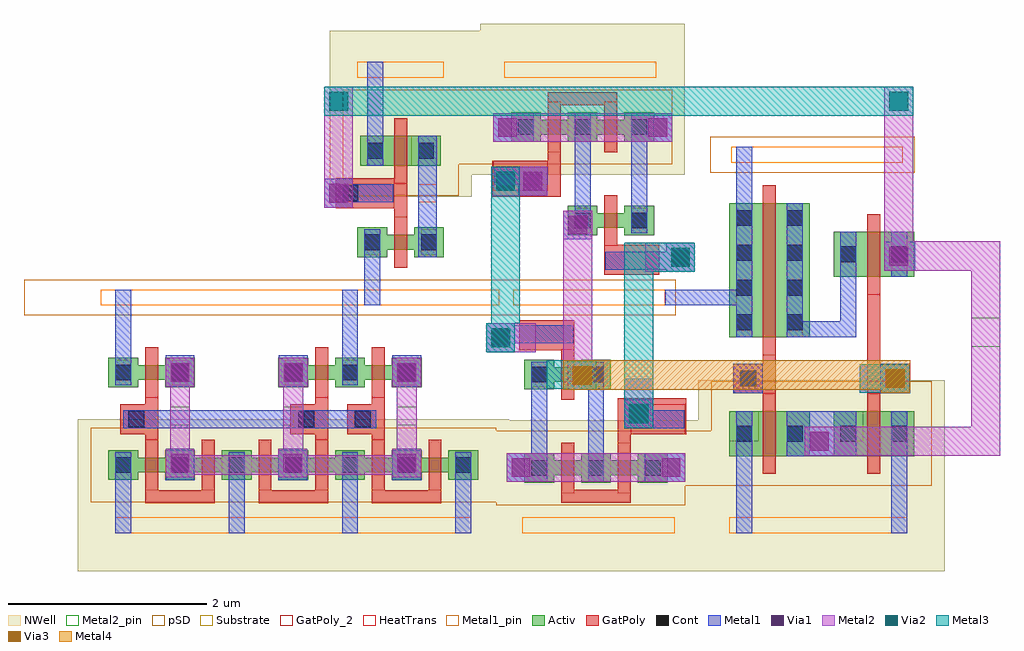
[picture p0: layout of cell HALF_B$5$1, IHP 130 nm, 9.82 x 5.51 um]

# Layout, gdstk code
from math import pi, radians
import gdstk
lib = gdstk.Library(unit=1e-6, precision=5e-09)
def R(c, l, rs):  # rectangles x0, y0, x1, y1
    for r in rs: c.add(gdstk.rectangle(r[:2], r[2:], *l))
def A(c, l, x, y, w, h, nx, ny, dx, dy):  # array of equal rectangles
    R(c, l, [(x+i*dx, y+j*dy, x+i*dx+w, y+j*dy+h) for i in range(nx) for j in range(ny)])
Activ = (1, 0)
GatPoly = (5, 0)
GatPoly_2 = (5, 2)
Cont = (6, 0)
Metal1 = (8, 0)
Metal1_pin = (8, 2)
Metal2 = (10, 0)
Metal2_pin = (10, 2)
pSD = (14, 0)
Via1 = (19, 0)
Via2 = (29, 0)
Metal3 = (30, 0)
NWell = (31, 0)
Substrate = (40, 0)
Via3 = (49, 0)
Metal4 = (50, 0)
HeatTrans = (51, 0)

via2_constraint_10_1 = lib.new_cell('Via2_constraint$10$1')
R(via2_constraint_10_1, Metal2, [(-0.015,0,0.275,0.29)])
R(via2_constraint_10_1, Via2, [(0.035,0.05,0.225,0.24)])
R(via2_constraint_10_1, Metal3, [(-0.015,0,0.275,0.29)])

via1_constraint_1_7_1 = lib.new_cell('Via1_constraint$1$7$1')
R(via1_constraint_1_7_1, Metal1, [(-0.02,0,0.27,0.29)])
R(via1_constraint_1_7_1, Metal2, [(-0.02,0,0.27,0.29)])
R(via1_constraint_1_7_1, Via1, [(0.03,0.05,0.22,0.24)])

nmos_4_4_1_1 = lib.new_cell('nmos$4$4$1$1')
R(nmos_4_4_1_1, Activ, [(0,0.04,0.3,0.34), (0.57,0.04,0.87,0.34), (0,0.115,0.87,0.265)])
R(nmos_4_4_1_1, GatPoly, [(0.37,-0.065,0.5,0.445)])
R(nmos_4_4_1_1, GatPoly_2, [(0.37,-0.065,0.5,0.445)])
R(nmos_4_4_1_1, Cont, [(0.07,0.11,0.23,0.27), (0.64,0.11,0.8,0.27)])
R(nmos_4_4_1_1, Metal1, [(0.07,0.06,0.23,0.32), (0.64,0.06,0.8,0.32)])
R(nmos_4_4_1_1, Metal1_pin, [(0.07,0.06,0.23,0.32), (0.64,0.06,0.8,0.32)])
R(nmos_4_4_1_1, HeatTrans, [(0.37,-0.065,0.5,0.445)])
nmos_4_4_1_1.add(gdstk.Label('nmos', (0.435,0.19), layer=63, texttype=0))
nmos_4_4_1_1.add(gdstk.Label('nmos', (0.435,0.19), layer=51, texttype=0))

pmos_4_2_1_1 = lib.new_cell('pmos$4$2$1$1')
R(pmos_4_2_1_1, Activ, [(0,-0.04,0.3,0.26), (0.57,-0.04,0.87,0.26), (0,0.035,0.87,0.185)])
R(pmos_4_2_1_1, GatPoly, [(0.37,-0.145,0.5,0.365), (0.37,-0.145,0.5,0.365)])
R(pmos_4_2_1_1, Cont, [(0.07,0.03,0.23,0.19), (0.64,0.03,0.8,0.19)])
R(pmos_4_2_1_1, Metal1, [(0.07,-0.02,0.23,0.24), (0.07,-0.02,0.23,0.25), (0.64,-0.02,0.8,0.24), (0.64,-0.02,0.8,0.24)])
R(pmos_4_2_1_1, pSD, [(-0.18,-0.265,1.05,0.485)])
R(pmos_4_2_1_1, NWell, [(-0.31,-0.37,1.18,0.56)])
R(pmos_4_2_1_1, Substrate, [(0.57,-0.04,0.87,0.26)])
R(pmos_4_2_1_1, HeatTrans, [(0.37,-0.145,0.5,0.365)])
pmos_4_2_1_1.add(gdstk.Label('pmos', (0.435,0.11), layer=63, texttype=0))
pmos_4_2_1_1.add(gdstk.Label('pmos', (0.435,0.11), layer=51, texttype=0))

via1_constraint_2_6_1_1 = lib.new_cell('Via1_constraint$2$6$1$1')
R(via1_constraint_2_6_1_1, Metal1, [(0,0,0.29,0.29)])
R(via1_constraint_2_6_1_1, Metal2, [(0,0,0.29,0.29)])
R(via1_constraint_2_6_1_1, Via1, [(0.05,0.05,0.24,0.24)])

tg_2c_1_3 = lib.new_cell('TG_2C$1$3')
R(tg_2c_1_3, GatPoly_2, [(0.26,0.415,0.81,0.715), (1.38,1.26,1.93,1.56)])
R(tg_2c_1_3, Metal1, [(0.26,0.465,0.8,0.645), (1.38,1.32,1.92,1.5), (0.42,1.75,0.54,2.04), (1.52,1.75,1.64,2.04)])
R(tg_2c_1_3, Metal1_pin, [(0.425,0.105,1.725,0.265), (0.26,0.465,0.8,0.645), (0.95,0.88,1.11,1.035), (1.38,1.32,1.92,1.5), (0.29,2.395,1.82,2.555)])
R(tg_2c_1_3, NWell, [(0,2.345,2.06,2.94)])
tg_2c_1_3.add(gdstk.FlexPath([(1.03,2.04),(1.03,0.83)], 0.16, ends="flush", simple_path=True, layer=8, datatype=0))  # Metal1
tg_2c_1_3.add(gdstk.FlexPath([(0.46,2.04),(0.46,0.83)], 0.16, ends="flush", simple_path=True, layer=8, datatype=0))  # Metal1
tg_2c_1_3.add(gdstk.FlexPath([(0.31,1.895),(1.75,1.895),(1.75,1.895)], 0.29, ends="flush", simple_path=True, layer=10, datatype=0))  # Metal2
tg_2c_1_3.add(gdstk.FlexPath([(1.25,1.38),(1.94,1.38)], 0.36, ends="flush", simple_path=True, layer=5, datatype=0))  # GatPoly
tg_2c_1_3.add(gdstk.FlexPath([(0.26,0.565),(0.81,0.565),(0.81,0.565)], 0.3, ends="flush", simple_path=True, layer=5, datatype=0))  # GatPoly
tg_2c_1_3.add(gdstk.FlexPath([(1.315,1.645),(1.315,1.34),(1.315,1.26)], 0.13, ends="flush", simple_path=True, layer=5, datatype=0))  # GatPoly
tg_2c_1_3.add(gdstk.FlexPath([(0.745,2.085),(0.745,2.185),(1.315,2.185),(1.315,2.085)], 0.13, ends="flush", simple_path=True, layer=5, datatype=0))  # GatPoly
tg_2c_1_3.add(gdstk.Reference(nmos_4_4_1_1, (0.31,0.77)))
tg_2c_1_3.add(gdstk.Reference(pmos_4_2_1_1, (0.31,1.79)))
tg_2c_1_3.add(gdstk.Reference(pmos_4_2_1_1, (0.88,1.79)))
tg_2c_1_3.add(gdstk.Reference(via1_constraint_2_6_1_1, (1.64,1.75)))
tg_2c_1_3.add(gdstk.Reference(via1_constraint_2_6_1_1, (0.13,1.75)))
tg_2c_1_3.add(gdstk.Label('VIN', (0.425,0.95), layer=8, texttype=25))
tg_2c_1_3.add(gdstk.Label('VOUT', (1.065,0.925), layer=8, texttype=25))
tg_2c_1_3.add(gdstk.Label('VDD', (0.33,2.455), layer=8, texttype=25))
tg_2c_1_3.add(gdstk.Label('VCTRLN', (0.495,0.515), layer=8, texttype=25))
tg_2c_1_3.add(gdstk.Label('VCTRLP', (1.66,1.35), layer=8, texttype=25))
tg_2c_1_3.add(gdstk.Label('VSS', (0.235,0.17), layer=8, texttype=25))

pmos_3_4_1 = lib.new_cell('pmos$3$4$1')
R(pmos_3_4_1, Activ, [(0,0,0.3,0.3), (0,0,0.81,0.45), (0.51,0,0.81,0.3)])
R(pmos_3_4_1, GatPoly, [(0.34,-0.18,0.47,0.63), (0.34,-0.18,0.47,0.63)])
R(pmos_3_4_1, Cont, [(0.07,0.145,0.23,0.305), (0.58,0.145,0.74,0.305)])
R(pmos_3_4_1, Metal1, [(0.07,0,0.23,0.45), (0.07,0,0.23,0.45), (0.58,0,0.74,0.45), (0.58,0,0.74,0.45)])
R(pmos_3_4_1, pSD, [(-0.18,-0.3,0.99,0.75)])
R(pmos_3_4_1, NWell, [(-0.31,-0.31,1.12,0.76)])
R(pmos_3_4_1, Substrate, [(0.51,0,0.81,0.3)])
R(pmos_3_4_1, HeatTrans, [(0.34,-0.18,0.47,0.63)])
pmos_3_4_1.add(gdstk.Label('pmos', (0.405,0.225), layer=63, texttype=0))
pmos_3_4_1.add(gdstk.Label('pmos', (0.405,0.225), layer=51, texttype=0))

nmos_1_2_2_2 = lib.new_cell('nmos$1$2$2$2')
R(nmos_1_2_2_2, Activ, [(0,0,0.3,0.3), (0,0,0.81,1.35), (0.51,0,0.81,0.3)])
R(nmos_1_2_2_2, GatPoly, [(0.34,-0.18,0.47,1.53)])
R(nmos_1_2_2_2, GatPoly_2, [(0.34,-0.18,0.47,1.53)])
A(nmos_1_2_2_2, Cont, 0.07, 0.07, 0.16, 0.16, 1, 4, 0, 0.35)
A(nmos_1_2_2_2, Cont, 0.58, 0.07, 0.16, 0.16, 1, 4, 0, 0.35)
R(nmos_1_2_2_2, Metal1, [(0.07,0,0.23,1.35), (0.58,0,0.74,1.35)])
R(nmos_1_2_2_2, Metal1_pin, [(0.07,0,0.23,1.35), (0.58,0,0.74,1.35)])
R(nmos_1_2_2_2, HeatTrans, [(0.34,-0.18,0.47,1.53)])
nmos_1_2_2_2.add(gdstk.Label('nmos', (0.405,0.675), layer=63, texttype=0))
nmos_1_2_2_2.add(gdstk.Label('nmos', (0.405,0.675), layer=51, texttype=0))

nmos_3_15_1 = lib.new_cell('nmos$3$15$1')
R(nmos_3_15_1, Activ, [(0,0,0.3,0.3), (0,0,0.81,0.45), (0.51,0,0.81,0.3)])
R(nmos_3_15_1, GatPoly, [(0.34,-0.18,0.47,0.63)])
R(nmos_3_15_1, GatPoly_2, [(0.34,-0.18,0.47,0.63)])
R(nmos_3_15_1, Cont, [(0.07,0.145,0.23,0.305), (0.58,0.145,0.74,0.305)])
R(nmos_3_15_1, Metal1, [(0.07,0,0.23,0.45), (0.58,0,0.74,0.45)])
R(nmos_3_15_1, Metal1_pin, [(0.07,0,0.23,0.45), (0.58,0,0.74,0.45)])
R(nmos_3_15_1, HeatTrans, [(0.34,-0.18,0.47,0.63)])
nmos_3_15_1.add(gdstk.Label('nmos', (0.405,0.225), layer=63, texttype=0))
nmos_3_15_1.add(gdstk.Label('nmos', (0.405,0.225), layer=51, texttype=0))

nand_d3_5_1 = lib.new_cell('NAND_D3$5$1')
R(nand_d3_5_1, GatPoly, [(1.7,1.605,1.83,2.61), (0.65,2.11,0.78,2.61), (0.35,2.31,0.65,2.61), (1.83,2.31,2.13,2.61)])
R(nand_d3_5_1, Cont, [(0.42,2.38,0.58,2.54), (1.9,2.38,2.06,2.54)])
R(nand_d3_5_1, Metal1, [(0.38,0.13,0.54,0.785), (1.89,1.085,2.18,1.375), (0.35,2.31,0.65,2.61), (1.83,2.31,2.13,2.61), (0.89,2.79,1.59,3.24), (0.38,3.09,0.54,4.015), (1.94,3.09,2.1,4.015)])
R(nand_d3_5_1, Metal1_pin, [(0.33,0.13,2.055,0.29), (0.35,2.31,0.65,2.61), (1.83,2.31,2.13,2.61), (0.31,3.855,2.1,4.015)])
R(nand_d3_5_1, Metal2, [(1.89,1.08,3.035,1.375), (2.745,1.08,3.035,3.235), (1.09,2.945,3.035,3.235)])
R(nand_d3_5_1, Metal2_pin, [(2.745,1.85,3.035,2.14)])
R(nand_d3_5_1, pSD, [(0.12,0.03,2.175,0.39)])
R(nand_d3_5_1, NWell, [(0,3.55,2.48,4.4)])
nand_d3_5_1.add(gdstk.FlexPath([(1.51,1.35),(1.51,1.965),(0.97,1.965),(0.97,1.77)], 0.16, ends="flush", simple_path=True, layer=8, datatype=0))  # Metal1
nand_d3_5_1.add(gdstk.Reference(pmos_3_4_1, (2.17,2.79), rotation=pi, x_reflection=True))
nand_d3_5_1.add(gdstk.Reference(pmos_3_4_1, (1.12,2.79), rotation=pi, x_reflection=True))
nand_d3_5_1.add(gdstk.Reference(nmos_1_2_2_2, (1.12,0.695), rotation=pi, x_reflection=True))
nand_d3_5_1.add(gdstk.Reference(nmos_3_15_1, (2.17,0.985), rotation=pi, x_reflection=True))
nand_d3_5_1.add(gdstk.Reference(via1_constraint_1_7_1, (1.89,1.085)))
nand_d3_5_1.add(gdstk.Reference(via1_constraint_1_7_1, (1.09,2.945)))
nand_d3_5_1.add(gdstk.Label('VSS', (0.45,0.255), layer=8, texttype=2))
nand_d3_5_1.add(gdstk.Label('VB', (0.455,2.51), layer=8, texttype=2))
nand_d3_5_1.add(gdstk.Label('VA', (1.935,2.52), layer=8, texttype=2))
nand_d3_5_1.add(gdstk.Label('VDD', (1.965,3.975), layer=8, texttype=2))
nand_d3_5_1.add(gdstk.Label('VDD', (0.405,3.975), layer=8, texttype=2))
nand_d3_5_1.add(gdstk.Label('VOUT', (2.935,2.035), layer=10, texttype=2))

pmos_26_1 = lib.new_cell('pmos$26$1')
R(pmos_26_1, Activ, [(0,0,0.3,0.3), (0.57,0,0.87,0.3), (0,0.075,0.87,0.225)])
R(pmos_26_1, GatPoly, [(0.37,-0.105,0.5,0.405), (0.37,-0.105,0.5,0.405)])
R(pmos_26_1, Cont, [(0.07,0.07,0.23,0.23), (0.64,0.07,0.8,0.23)])
R(pmos_26_1, Metal1, [(0.07,0.02,0.23,0.28), (0.07,0.02,0.23,0.28), (0.64,0.02,0.8,0.28), (0.64,0.02,0.8,0.28)])
R(pmos_26_1, pSD, [(-0.18,-0.225,1.05,0.525)])
R(pmos_26_1, NWell, [(-0.31,-0.31,1.18,0.61)])
R(pmos_26_1, Substrate, [(0.57,0,0.87,0.3)])
R(pmos_26_1, HeatTrans, [(0.37,-0.105,0.5,0.405)])
pmos_26_1.add(gdstk.Label('pmos', (0.435,0.15), layer=63, texttype=0))
pmos_26_1.add(gdstk.Label('pmos', (0.435,0.15), layer=51, texttype=0))

nmos_1_14_1 = lib.new_cell('nmos$1$14$1')
R(nmos_1_14_1, Activ, [(0,0,0.3,0.3), (0.57,0,0.87,0.3), (0,0.075,0.87,0.225)])
R(nmos_1_14_1, GatPoly, [(0.37,-0.105,0.5,0.405)])
R(nmos_1_14_1, GatPoly_2, [(0.37,-0.105,0.5,0.405)])
R(nmos_1_14_1, Cont, [(0.07,0.07,0.23,0.23), (0.64,0.07,0.8,0.23)])
R(nmos_1_14_1, Metal1, [(0.07,0.02,0.23,0.28), (0.64,0.02,0.8,0.28)])
R(nmos_1_14_1, Metal1_pin, [(0.07,0.02,0.23,0.28), (0.64,0.02,0.8,0.28)])
R(nmos_1_14_1, HeatTrans, [(0.37,-0.105,0.5,0.405)])
nmos_1_14_1.add(gdstk.Label('nmos', (0.435,0.15), layer=63, texttype=0))
nmos_1_14_1.add(gdstk.Label('nmos', (0.435,0.15), layer=51, texttype=0))

inv_5_1 = lib.new_cell('INV$5$1')
R(inv_5_1, GatPoly, [(-0.045,-0.365,0.085,0.135), (-0.045,0.645,0.655,0.775)])
R(inv_5_1, GatPoly_2, [(-0.045,-0.285,0.085,0.135)])
R(inv_5_1, Metal1, [(-0.345,-1.375,-0.185,-0.49), (-0.345,0.26,-0.185,1.075), (0.205,0.26,0.405,0.52), (0.795,0.26,0.955,1.075)])
R(inv_5_1, Metal1_pin, [(-0.495,-1.375,1.235,-1.215), (-0.345,-1.375,-0.185,-1.215), (-0.345,0.915,-0.185,1.075), (-0.345,0.915,0.955,1.075), (0.795,0.915,0.955,1.075)])
R(inv_5_1, Metal2, [(0.205,-0.69,0.405,0.49)])
R(inv_5_1, Metal2_pin, [(0.205,-0.195,0.405,-0.01)])
R(inv_5_1, pSD, [(-0.73,-1.475,3.015,-1.115)])
r = gdstk.Reference(pmos_26_1, (-0.415,0.24)); r.repetition = gdstk.Repetition(2, 1, v1=(0.57,0), v2=(0,0)); inv_5_1.add(r)
inv_5_1.add(gdstk.Reference(nmos_1_14_1, (-0.415,-0.69)))

via1_constraint_13_1 = lib.new_cell('Via1_constraint$13$1')
R(via1_constraint_13_1, Metal1, [(-0.005,-0.005,0.285,0.285)])
R(via1_constraint_13_1, Metal2, [(-0.005,-0.005,0.285,0.285)])
R(via1_constraint_13_1, Via1, [(0.045,0.045,0.235,0.235)])

inv_d3_5_1 = lib.new_cell('INV_D3$5$1')
R(inv_d3_5_1, GatPoly, [(0.435,1.055,0.685,1.355), (2.145,1.055,2.395,1.355), (2.715,1.055,2.965,1.355)])
R(inv_d3_5_1, GatPoly_2, [(0.435,1.055,0.685,1.355), (2.145,1.055,2.395,1.355), (2.715,1.055,2.965,1.355)])
R(inv_d3_5_1, Cont, [(0.515,1.125,0.675,1.285), (2.225,1.125,2.385,1.285), (2.795,1.125,2.955,1.285)])
A(inv_d3_5_1, Metal1, 0.89, 0.56, 0.29, 0.03, 3, 1, 1.14, 0)
R(inv_d3_5_1, Metal1, [(0.465,1.115,0.685,1.295), (0.465,1.115,3.01,1.295), (2.175,1.115,2.395,1.295), (2.785,1.115,2.965,1.295), (0.89,1.79,1.18,1.82), (2.025,1.79,2.315,1.82), (3.17,1.79,3.46,1.82)])
R(inv_d3_5_1, Metal1_pin, [(0.235,-0.1,4.245,0.06), (0.385,-0.1,0.545,0.06), (0.465,1.115,0.685,1.295), (2.175,1.115,2.395,1.295), (2.785,1.115,2.965,1.295), (0.385,2.19,0.545,2.35), (0.385,2.19,3.965,2.35)])
R(inv_d3_5_1, Metal2, [(0.935,1.565,3.415,1.765)])
R(inv_d3_5_1, NWell, [(0.005,2.125,4.345,2.735)])
r = gdstk.Reference(inv_5_1, (0.73,1.275)); r.repetition = gdstk.Repetition(2, 1, v1=(2.28,0), v2=(0,0)); inv_d3_5_1.add(r)
inv_d3_5_1.add(gdstk.Reference(inv_5_1, (2.48,1.275), rotation=pi, x_reflection=True))
inv_d3_5_1.add(gdstk.Reference(via1_constraint_13_1, (0.895,0.595)))
inv_d3_5_1.add(gdstk.Reference(via1_constraint_13_1, (2.035,0.595)))
inv_d3_5_1.add(gdstk.Reference(via1_constraint_13_1, (3.175,0.595)))
inv_d3_5_1.add(gdstk.Reference(via1_constraint_13_1, (0.895,1.505)))
inv_d3_5_1.add(gdstk.Reference(via1_constraint_13_1, (2.03,1.505)))
inv_d3_5_1.add(gdstk.Reference(via1_constraint_13_1, (3.175,1.505)))
inv_d3_5_1.add(gdstk.Label('VSS', (0.5,0.035), layer=8, texttype=2))
inv_d3_5_1.add(gdstk.Label('VIN', (0.675,1.235), layer=8, texttype=2))
inv_d3_5_1.add(gdstk.Label('VIN', (0.675,1.235), layer=8, texttype=2))
inv_d3_5_1.add(gdstk.Label('VIN', (0.675,1.235), layer=8, texttype=2))
inv_d3_5_1.add(gdstk.Label('VDD', (0.515,2.325), layer=8, texttype=2))
inv_d3_5_1.add(gdstk.Label('VIN', (0.655,1.19), layer=8, texttype=25))
inv_d3_5_1.add(gdstk.Label('VDD', (1.315,2.265), layer=8, texttype=25))
inv_d3_5_1.add(gdstk.Label('VSS', (1.515,-0.02), layer=8, texttype=25))
inv_d3_5_1.add(gdstk.Label('VOUT', (3.325,1.23), layer=10, texttype=25))

nmos_7_1 = lib.new_cell('nmos$7$1')
R(nmos_7_1, Activ, [(0,0,0.3,0.3), (0.57,0,0.87,0.3), (0,0.075,0.87,0.225)])
R(nmos_7_1, GatPoly, [(0.37,-0.105,0.5,0.405)])
R(nmos_7_1, GatPoly_2, [(0.37,-0.105,0.5,0.405)])
R(nmos_7_1, Cont, [(0.07,0.07,0.23,0.23), (0.64,0.07,0.8,0.23)])
R(nmos_7_1, Metal1, [(0.07,0.02,0.23,0.28), (0.64,0.02,0.8,0.28)])
R(nmos_7_1, Metal1_pin, [(0.07,0.02,0.23,0.28), (0.64,0.02,0.8,0.28)])
R(nmos_7_1, HeatTrans, [(0.37,-0.105,0.5,0.405)])
nmos_7_1.add(gdstk.Label('nmos', (0.435,0.15), layer=63, texttype=0))
nmos_7_1.add(gdstk.Label('nmos', (0.435,0.15), layer=51, texttype=0))

pmos_1_9_1 = lib.new_cell('pmos$1$9$1')
R(pmos_1_9_1, Activ, [(0,0,0.3,0.3), (0,0,0.81,0.3), (0.51,0,0.81,0.3)])
R(pmos_1_9_1, GatPoly, [(0.34,-0.18,0.47,0.48), (0.34,-0.18,0.47,0.48)])
R(pmos_1_9_1, Cont, [(0.07,0.07,0.23,0.23), (0.58,0.07,0.74,0.23)])
R(pmos_1_9_1, Metal1, [(0.07,0,0.23,0.3), (0.07,0,0.23,0.3), (0.58,0,0.74,0.3), (0.58,0,0.74,0.3)])
R(pmos_1_9_1, pSD, [(-0.18,-0.3,0.99,0.6)])
R(pmos_1_9_1, NWell, [(-0.31,-0.31,1.12,0.61)])
R(pmos_1_9_1, Substrate, [(0.51,0,0.81,0.3)])
R(pmos_1_9_1, HeatTrans, [(0.34,-0.18,0.47,0.48)])
pmos_1_9_1.add(gdstk.Label('pmos', (0.405,0.15), layer=63, texttype=0))
pmos_1_9_1.add(gdstk.Label('pmos', (0.405,0.15), layer=51, texttype=0))

inv_d1_1_2_2 = lib.new_cell('INV_D1$1$2$2')
R(inv_d1_1_2_2, GatPoly, [(0.06,1.08,0.65,1.38), (0.65,1.11,0.78,1.325)])
R(inv_d1_1_2_2, GatPoly_2, [(0.06,1.08,0.65,1.38)])
R(inv_d1_1_2_2, Cont, [(0.13,1.15,0.29,1.31)])
R(inv_d1_1_2_2, Metal1, [(0.07,1.14,0.64,1.32)])
R(inv_d1_1_2_2, Metal1_pin, [(0.28,0.1,1.15,0.26), (0.07,1.14,0.64,1.32), (0.89,1.14,1.08,1.32), (0.28,2.39,1.15,2.55)])
R(inv_d1_1_2_2, pSD, [(0.15,0,1.28,0.36)])
R(inv_d1_1_2_2, NWell, [(0,2.115,1.43,2.865)])
R(inv_d1_1_2_2, Substrate, [(0.82,1.505,1.12,1.805)])
inv_d1_1_2_2.add(gdstk.FlexPath([(0.46,1.805),(0.46,2.55)], 0.16, ends="flush", simple_path=True, layer=8, datatype=0))  # Metal1
inv_d1_1_2_2.add(gdstk.FlexPath([(0.985,0.585),(0.985,1.805)], 0.19, ends="flush", simple_path=True, layer=8, datatype=0))  # Metal1
inv_d1_1_2_2.add(gdstk.FlexPath([(0.43,0.865),(0.43,0.1)], 0.16, ends="flush", simple_path=True, layer=8, datatype=0))  # Metal1
inv_d1_1_2_2.add(gdstk.FlexPath([(0.715,1.11),(0.715,0.99)], 0.13, ends="flush", simple_path=True, layer=5, datatype=0))  # GatPoly
inv_d1_1_2_2.add(gdstk.Reference(nmos_7_1, (0.28,0.585)))
inv_d1_1_2_2.add(gdstk.Reference(pmos_1_9_1, (0.31,1.505)))
inv_d1_1_2_2.add(gdstk.Label('nmos', (0.715,0.655), layer=63, texttype=0))
inv_d1_1_2_2.add(gdstk.Label('VDD', (0.655,2.465), layer=8, texttype=25))
inv_d1_1_2_2.add(gdstk.Label('VIN', (0.285,1.175), layer=8, texttype=25))
inv_d1_1_2_2.add(gdstk.Label('VOUT', (1.03,1.165), layer=8, texttype=25))
inv_d1_1_2_2.add(gdstk.Label('VSS', (0.65,0.175), layer=8, texttype=25))

via3_constraint_6_1 = lib.new_cell('Via3_constraint$6$1')
R(via3_constraint_6_1, Metal3, [(0,0,0.29,0.29)])
R(via3_constraint_6_1, Via3, [(0.05,0.05,0.24,0.24)])
R(via3_constraint_6_1, Metal4, [(0,0,0.29,0.29)])

half_b_5_1 = lib.new_cell('HALF_B$5$1')
R(half_b_5_1, Metal1, [(4.405,2.225,4.455,2.405), (5.915,2.605,6.79,2.765), (5.855,2.965,5.925,3.145)])
R(half_b_5_1, Metal2, [(5.505,1.66,5.795,1.87), (7.875,1.725,8.085,2.015), (4.89,1.83,5.18,3.56), (4.405,2.135,4.615,2.425), (5.715,2.945,5.925,3.235), (8.12,3.245,8.41,4.805), (4.165,3.71,4.51,4), (2.485,3.88,2.775,4.515)])
R(half_b_5_1, pSD, [(4.215,0.595,4.32,1.345), (6.12,0.79,6.38,1.345), (3.84,4.025,4.185,4.775), (2.67,4.61,3.84,4.775)])
R(half_b_5_1, Metal3, [(5.505,1.66,5.795,3.235), (7.875,1.725,8.085,2.015), (4.725,1.765,4.935,2.055), (4.165,2.425,4.455,4), (5.505,2.945,6.215,3.235), (2.775,4.515,8.41,4.805)])
R(half_b_5_1, NWell, [(3.97,3.92,4.055,5.37)])
R(half_b_5_1, Metal4, [(4.89,1.755,8.38,2.055)])
half_b_5_1.add(gdstk.Reference(via2_constraint_10_1, (4.18,3.71)))
half_b_5_1.add(gdstk.Reference(via2_constraint_10_1, (4.13,2.135)))
half_b_5_1.add(gdstk.Reference(via1_constraint_1_7_1, (4.135,2.135)))
half_b_5_1.add(gdstk.Reference(via1_constraint_1_7_1, (4.46,3.71)))
half_b_5_1.add(gdstk.Reference(tg_2c_1_3, (6.115,2.5), rotation=pi, x_reflection=True))
half_b_5_1.add(gdstk.Reference(nand_d3_5_1, (6.25,4.33), x_reflection=True))
half_b_5_1.add(gdstk.Reference(tg_2c_1_3, (4.19,2.87), x_reflection=True))
half_b_5_1.add(gdstk.Reference(inv_d3_5_1, (0,2.665), x_reflection=True))
half_b_5_1.add(gdstk.Reference(inv_d1_1_2_2, (2.54,2.505)))
half_b_5_1.add(gdstk.Reference(via1_constraint_1_7_1, (5.945,2.945)))
half_b_5_1.add(gdstk.Reference(via1_constraint_1_7_1, (5.525,1.37)))
half_b_5_1.add(gdstk.Reference(via2_constraint_10_1, (5.94,2.945)))
half_b_5_1.add(gdstk.Reference(via2_constraint_10_1, (5.52,1.37)))
half_b_5_1.add(gdstk.Reference(via1_constraint_1_7_1, (4.91,3.27)))
half_b_5_1.add(gdstk.Reference(via1_constraint_1_7_1, (2.505,3.59)))
half_b_5_1.add(gdstk.Reference(via2_constraint_10_1, (2.5,4.515)))
half_b_5_1.add(gdstk.Reference(via2_constraint_10_1, (8.135,4.515)))
half_b_5_1.add(gdstk.Reference(via3_constraint_6_1, (4.935,1.755)))
half_b_5_1.add(gdstk.Reference(via2_constraint_10_1, (4.95,1.755)))
half_b_5_1.add(gdstk.Reference(via1_constraint_1_7_1, (8.105,1.725)))
half_b_5_1.add(gdstk.Reference(via2_constraint_10_1, (8.1,1.725)))
half_b_5_1.add(gdstk.Reference(via3_constraint_6_1, (8.085,1.725)))
half_b_5_1.add(gdstk.Reference(via1_constraint_1_7_1, (4.955,1.755)))

lib.write_gds('HALF_B_5_1.gds')
